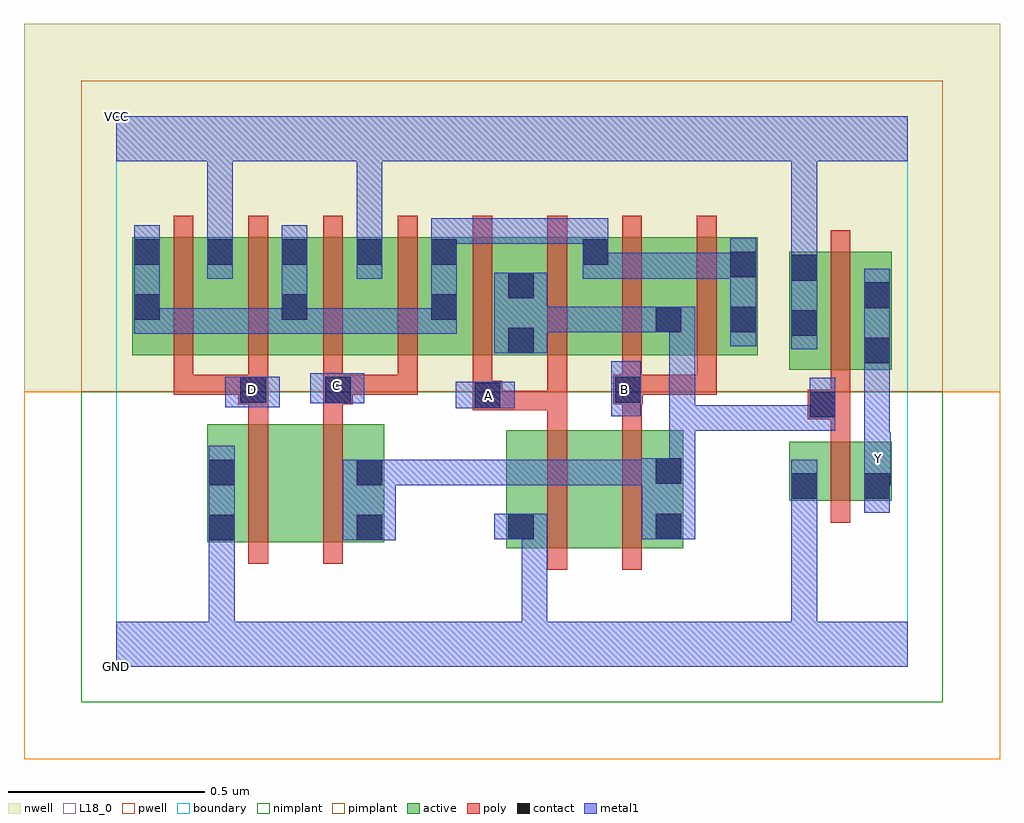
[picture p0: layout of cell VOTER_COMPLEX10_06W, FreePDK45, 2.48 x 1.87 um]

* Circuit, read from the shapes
.subckt VOTER_COMPLEX10_06W A B C D GND VCC Y
M1 n1 D GND VSUBS nfet w=0.3u l=0.05u
M2 n2 C n1 VSUBS nfet w=0.3u l=0.05u
M3 n3 A GND VSUBS nfet w=0.3u l=0.05u
M4 n2 B n3 VSUBS nfet w=0.3u l=0.05u
M5 Y n2 GND VSUBS nfet w=0.15u l=0.05u
M6 VCC D n4 n5 pfet w=0.3u l=0.05u m=2
M7 VCC C n4 n5 pfet w=0.3u l=0.05u m=2
M8 n2 A n4 n5 pfet w=0.3u l=0.05u m=2
M9 n2 B n4 n5 pfet w=0.3u l=0.05u m=2
M10 Y n2 VCC n5 pfet w=0.3u l=0.05u
.ends

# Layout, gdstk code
import gdstk
lib = gdstk.Library(unit=1e-6, precision=1e-09)
def R(c, l, rs):  # rectangles x0, y0, x1, y1
    for r in rs: c.add(gdstk.rectangle(r[:2], r[2:], *l))
def A(c, l, x, y, w, h, nx, ny, dx, dy):  # array of equal rectangles
    R(c, l, [(x+i*dx, y+j*dy, x+i*dx+w, y+j*dy+h) for i in range(nx) for j in range(ny)])
active = (1, 0)
pwell = (2, 0)
nwell = (3, 0)
nimplant = (4, 0)
pimplant = (5, 0)
poly = (9, 0)
contact = (10, 0)
metal1 = (11, 0)
L18_0 = (18, 0)
boundary = (235, 0)

voter_complex10_06w = lib.new_cell('VOTER_COMPLEX10_06W')
A(voter_complex10_06w, active, 0.225, 0.792, 0.265, 0.3, 3, 1, 0.19, 0)
R(voter_complex10_06w, active, [(0.99,0.302,1.215,0.602), (1.215,0.302,1.44,0.602), (0.23,0.317,0.455,0.617), (0.23,0.317,0.305,0.617), (0.455,0.317,0.68,0.617), (0.605,0.317,0.68,0.617), (0.99,0.32,1.065,0.602), (1.365,0.32,1.44,0.602), (1.71,0.422,1.785,0.572), (1.71,0.422,1.97,0.572), (1.895,0.422,1.97,0.572), (1.71,0.755,1.785,1.055), (1.71,0.755,1.97,1.055), (1.895,0.755,1.97,1.055), (0.04,0.792,0.115,1.092), (0.04,0.792,0.3,1.092), (0.415,0.792,0.49,1.092), (0.795,0.792,0.87,1.092), (0.795,0.792,1.065,1.092), (0.99,0.792,1.255,1.092), (0.99,0.792,1.065,1.055), (1.18,0.792,1.44,1.092), (1.365,0.792,1.63,1.092), (1.555,0.792,1.63,1.06), (1.365,0.845,1.44,1.055), (0.225,0.995,0.3,1.092), (0.605,0.995,0.68,1.092), (1.18,0.995,1.255,1.092)])
R(voter_complex10_06w, pwell, [(-0.235,-0.235,2.245,0.7)])
R(voter_complex10_06w, nwell, [(-0.235,0.7,2.245,1.635)])
R(voter_complex10_06w, nimplant, [(-0.09,-0.09,2.1,0.7)])
R(voter_complex10_06w, pimplant, [(-0.09,0.7,2.1,1.49)])
A(voter_complex10_06w, poly, 0.145, 0.692, 0.05, 0.095, 4, 1, 0.19, 0)
A(voter_complex10_06w, poly, 0.145, 0.737, 0.05, 0.41, 8, 1, 0.19, 0)
R(voter_complex10_06w, poly, [(1.095,0.247,1.145,0.657), (1.285,0.247,1.335,0.657), (0.335,0.262,0.385,0.672), (0.525,0.262,0.575,0.672), (1.815,0.367,1.865,0.627), (1.815,0.577,1.865,0.68), (1.095,0.607,1.145,0.702), (1.285,0.607,1.335,0.717), (0.335,0.622,0.385,0.717), (0.525,0.622,0.575,0.717), (1.757,0.63,1.865,0.705), (0.905,0.652,0.98,0.727), (0.93,0.652,1.145,0.702), (1.095,0.652,1.145,0.702), (1.095,0.652,1.145,0.702), (1.095,0.652,1.145,0.702), (1.095,0.652,1.145,0.787), (1.815,0.655,1.865,0.75), (0.31,0.667,0.385,0.742), (0.525,0.667,0.6,0.742), (1.262,0.667,1.337,0.742), (0.905,0.677,0.955,0.787), (0.145,0.692,0.195,0.742), (0.145,0.692,0.36,0.742), (0.31,0.692,0.36,0.742), (0.31,0.692,0.36,0.742), (0.55,0.692,0.765,0.742), (0.715,0.692,0.765,0.742), (0.715,0.692,0.765,0.742), (0.715,0.692,0.765,0.742), (1.285,0.692,1.335,0.787), (1.287,0.692,1.525,0.742), (1.287,0.692,1.337,0.742), (1.287,0.692,1.337,0.742), (1.475,0.692,1.525,0.787), (1.475,0.692,1.525,0.742), (1.815,0.7,1.865,1.11)])
A(voter_complex10_06w, contact, 0.23, 1.022, 0.065, 0.065, 4, 1, 0.19, 0)
R(voter_complex10_06w, contact, [(0.235,0.322,0.3,0.387), (0.61,0.322,0.675,0.387), (0.995,0.325,1.06,0.39), (1.37,0.325,1.435,0.39), (1.715,0.427,1.78,0.492), (1.9,0.427,1.965,0.492), (0.235,0.462,0.3,0.527), (0.61,0.462,0.675,0.527), (1.37,0.465,1.435,0.53), (1.762,0.635,1.827,0.7), (0.91,0.657,0.975,0.722), (0.315,0.672,0.38,0.737), (0.53,0.672,0.595,0.737), (1.267,0.672,1.332,0.737), (1.9,0.772,1.965,0.837), (0.995,0.797,1.06,0.862), (1.715,0.842,1.78,0.907), (1.37,0.85,1.435,0.915), (1.56,0.85,1.625,0.915), (0.045,0.882,0.11,0.947), (0.42,0.882,0.485,0.947), (0.8,0.882,0.865,0.947), (1.9,0.912,1.965,0.977), (0.995,0.937,1.06,1.002), (1.715,0.982,1.78,1.047), (1.56,0.99,1.625,1.055), (0.045,1.022,0.11,1.087), (1.185,1.022,1.25,1.087)])
R(voter_complex10_06w, metal1, [(0,0,2.01,0.115), (0.235,0.05,0.3,0.115), (0.235,0.05,0.3,0.115), (0.235,0.05,0.3,0.115), (0.235,0.05,0.3,0.115), (0.235,0.05,0.3,0.352), (1.03,0.05,1.095,0.115), (1.03,0.05,1.095,0.115), (1.03,0.05,1.095,0.115), (1.03,0.05,1.095,0.115), (1.03,0.05,1.095,0.39), (1.715,0.05,1.78,0.115), (1.715,0.05,1.78,0.115), (1.715,0.05,1.78,0.457), (0.235,0.287,0.3,0.562), (0.575,0.322,0.71,0.527), (0.96,0.325,1.095,0.39), (1.335,0.325,1.47,0.53), (1.715,0.392,1.78,0.457), (1.715,0.392,1.78,0.457), (1.715,0.392,1.78,0.457), (1.715,0.392,1.78,0.457), (1.715,0.392,1.78,0.527), (1.9,0.392,1.965,0.527), (0.645,0.462,0.71,0.527), (0.645,0.462,0.71,0.527), (0.645,0.462,0.865,0.527), (0.8,0.462,0.865,0.527), (0.8,0.462,0.865,0.527), (0.8,0.462,0.865,0.527), (0.8,0.462,1.112,0.527), (1.047,0.462,1.112,0.527), (1.047,0.462,1.112,0.527), (1.047,0.462,1.112,0.527), (1.047,0.462,1.25,0.527), (1.185,0.462,1.25,0.527), (1.185,0.462,1.4,0.527), (1.335,0.462,1.4,0.527), (1.335,0.462,1.4,0.527), (1.9,0.462,1.965,0.527), (1.9,0.462,1.967,0.597), (1.405,0.465,1.47,0.665), (1.9,0.532,1.965,0.802), (1.405,0.6,1.47,0.665), (1.405,0.6,1.607,0.665), (1.405,0.6,1.47,0.915), (1.542,0.6,1.607,0.665), (1.542,0.6,1.607,0.665), (1.542,0.6,1.607,0.665), (1.542,0.6,1.827,0.665), (1.762,0.6,1.827,0.665), (1.762,0.6,1.827,0.665), (1.762,0.6,1.827,0.735), (1.257,0.637,1.332,0.777), (0.862,0.657,1.012,0.725), (0.277,0.66,0.415,0.737), (0.492,0.67,0.63,0.747), (1.9,0.737,1.965,1.012), (0.96,0.797,1.095,1.002), (1.715,0.807,1.78,1.082), (1.56,0.815,1.625,1.09), (0.045,0.847,0.11,1.122), (0.045,0.847,0.11,0.912), (0.045,0.847,0.11,0.912), (0.045,0.847,0.347,0.912), (0.282,0.847,0.347,0.912), (0.282,0.847,0.347,0.912), (0.282,0.847,0.347,0.912), (0.282,0.847,0.485,0.912), (0.42,0.847,0.485,1.122), (0.42,0.847,0.485,0.912), (0.42,0.847,0.485,0.912), (0.42,0.847,0.727,0.912), (0.662,0.847,0.727,0.912), (0.662,0.847,0.727,0.912), (0.662,0.847,0.727,0.912), (0.662,0.847,0.865,0.912), (0.8,0.847,0.865,1.122), (1.03,0.85,1.095,0.915), (1.03,0.85,1.095,0.915), (1.03,0.85,1.262,0.915), (1.197,0.85,1.262,0.915), (1.197,0.85,1.4,0.915), (1.335,0.85,1.4,0.915), (1.335,0.85,1.4,0.915), (1.335,0.85,1.47,0.915), (0.23,0.987,0.295,1.122), (0.61,0.987,0.675,1.122), (1.185,0.987,1.25,1.052), (1.185,0.987,1.25,1.052), (1.185,0.987,1.4,1.052), (1.185,0.987,1.25,1.14), (1.335,0.987,1.4,1.052), (1.335,0.987,1.625,1.052), (1.56,0.987,1.625,1.052), (1.56,0.987,1.625,1.052), (1.715,1.017,1.78,1.35), (0.23,1.057,0.295,1.122), (0.23,1.057,0.295,1.122), (0.23,1.057,0.295,1.35), (0.61,1.057,0.675,1.35), (0.8,1.057,0.865,1.14), (0.8,1.075,0.865,1.14), (0.8,1.075,0.865,1.14), (0.8,1.075,0.865,1.14), (0.8,1.075,1.002,1.14), (0.937,1.075,1.002,1.14), (0.937,1.075,1.002,1.14), (0.937,1.075,1.002,1.14), (0.937,1.075,1.25,1.14), (0,1.285,2.01,1.4), (0.61,1.285,0.675,1.35), (0.61,1.285,0.675,1.35), (1.715,1.285,1.78,1.35), (1.715,1.285,1.78,1.35)])
R(voter_complex10_06w, L18_0, [(0,0,2.01,0.115), (0.235,0.05,0.3,0.115), (0.235,0.05,0.3,0.115), (0.235,0.05,0.3,0.115), (0.235,0.05,0.3,0.115), (0.235,0.05,0.3,0.352), (1.03,0.05,1.095,0.115), (1.03,0.05,1.095,0.115), (1.03,0.05,1.095,0.115), (1.03,0.05,1.095,0.115), (1.03,0.05,1.095,0.39), (1.715,0.05,1.78,0.115), (1.715,0.05,1.78,0.115), (1.715,0.05,1.78,0.457), (0.235,0.287,0.3,0.562), (0.96,0.325,1.095,0.39), (1.715,0.392,1.78,0.457), (1.715,0.392,1.78,0.457), (1.715,0.392,1.78,0.457), (1.715,0.392,1.78,0.457), (1.715,0.392,1.78,0.527), (1.9,0.392,1.965,0.527), (1.9,0.462,1.965,0.527), (1.9,0.462,1.967,0.597), (1.902,0.497,1.967,0.562), (1.9,0.532,1.965,0.802), (1.257,0.637,1.332,0.777), (0.862,0.657,1.012,0.725), (0.912,0.657,0.977,0.722), (0.277,0.66,0.415,0.737), (0.492,0.67,0.63,0.747), (0.312,0.672,0.377,0.737), (1.257,0.672,1.322,0.737), (0.527,0.682,0.592,0.747), (1.9,0.737,1.965,1.012), (1.715,0.807,1.78,1.082), (0.23,0.987,0.295,1.122), (0.61,0.987,0.675,1.122), (1.715,1.017,1.78,1.35), (0.23,1.057,0.295,1.122), (0.23,1.057,0.295,1.122), (0.23,1.057,0.295,1.35), (0.61,1.057,0.675,1.35), (0,1.285,2.01,1.4), (0.61,1.285,0.675,1.35), (0.61,1.285,0.675,1.35), (1.715,1.285,1.78,1.35), (1.715,1.285,1.78,1.35)])
R(voter_complex10_06w, boundary, [(0,0,2.01,1.4)])
voter_complex10_06w.add(gdstk.Label('A', (0.945,0.69), layer=11, texttype=0))
voter_complex10_06w.add(gdstk.Label('B', (1.29,0.705), layer=11, texttype=0))
voter_complex10_06w.add(gdstk.Label('C', (0.56,0.715), layer=11, texttype=0))
voter_complex10_06w.add(gdstk.Label('D', (0.345,0.705), layer=11, texttype=0))
voter_complex10_06w.add(gdstk.Label('Y', (1.935,0.53), layer=11, texttype=0))
voter_complex10_06w.add(gdstk.Label('VCC', (0,1.4), layer=11, texttype=0))
voter_complex10_06w.add(gdstk.Label('GND', (0,0), layer=11, texttype=0))

lib.write_gds('VOTER_COMPLEX10_06W.gds')
